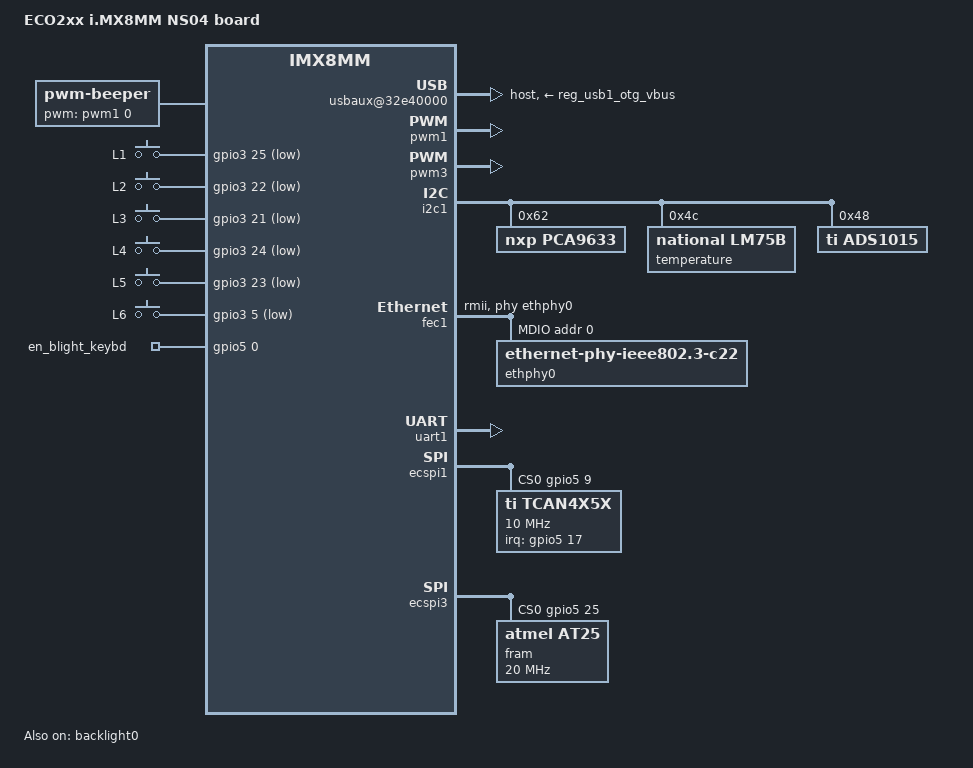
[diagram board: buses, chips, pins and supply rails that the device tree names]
/*
 * Copyright (C) 2019 Exor S.p.a
 * 
 * Written by: G. Pavoni Exor S.p.a.
 * 
 * Copyright (C) 2013 Freescale Semiconductor, Inc.
 *
 * This program is free software; you can redistribute it and/or modify
 * it under the terms of the GNU General Public License version 2 as
 * published by the Free Software Foundation.
 */
  
/dts-v1/;
  
#include "imx8mm_ns04.dtsi"
  
/ {
	model = "ECO2xx i.MX8MM NS04 board";

	aliases {
		serial0 = &uart1;
	};
	
	beeper {
		compatible = "pwm-beeper";
		pwms = <&pwm1 0 50000 0>;
	};

	working_hours {
	  compatible = "working_hours";
	  nvmem-names = "eeprom", "rtcnvram";
	  nvmem = <&seeprom0>, <&m41t83>;
	  has-blight;
	  status = "okay";
	};	
	
	gpio_buttons: gpio_buttons@0 {
		compatible = "gpio-keys";
		#address-cells = <1>;
		#size-cells = <0>;
		pinctrl-names = "default";
		pinctrl-0 = <&pinctrl_gpiobutton>;

		button@1 {
		    label = "L1";
		    linux,code = <59>; /* KEY_F1 */
		    gpios = <&gpio3 25 GPIO_ACTIVE_LOW>;
		};
		button@2 {
		    label = "L2";
		    linux,code = <60>; /* KEY_F2 */
		    gpios = <&gpio3 22 GPIO_ACTIVE_LOW>;
		};
		button@3 {
		    label = "L3";
		    linux,code = <61>; /* KEY_F3 */
		    gpios = <&gpio3 21 GPIO_ACTIVE_LOW>;
		};
		button@4 {
		    label = "L4";
		    linux,code = <62>; /* KEY_F4 */
		    gpios = <&gpio3 24 GPIO_ACTIVE_LOW>;
		};
		button@5 {
		    label = "L5";
		    linux,code = <63>; /* KEY_F5 */
		    gpios = <&gpio3 23 GPIO_ACTIVE_LOW>;
		};
		button@6 {
		    label = "L6";
		    linux,code = <64>; /* KEY_F6 */
		    gpios = <&gpio3 5 GPIO_ACTIVE_LOW>;
		};
	};
};

&aips4 {
	usbaux@32e40000 {
		compatible = "fsl,imx8mm-usb", "fsl,imx7d-usb";
		reg = <0x32e40000 0x200>;
		interrupts = <GIC_SPI 40 IRQ_TYPE_LEVEL_HIGH>;
		clocks = <&clk IMX8MM_CLK_USB1_CTRL_ROOT>;
		clock-names = "usb1_ctrl_root_clk";
		assigned-clocks = <&clk IMX8MM_CLK_USB_BUS>;
		assigned-clock-parents = <&clk IMX8MM_SYS_PLL2_500M>;
		fsl,usbphy = <&usbphynop1>;
		fsl,usbmisc = <&usbmisc1 0>;
		power-domains = <&usb_otg1_pd>;
		
		dr_mode = "host";
		vbus-supply = <&reg_usb1_otg_vbus>;
		picophy,pre-emp-curr-control = <3>;
		picophy,dc-vol-level-adjust = <7>;
		status = "okay";
	};	
};

/delete-node/&usbotg1;

&leds{
        en_blight_keybd@99 {
            label = "en_blight_keybd";
            gpios = <&gpio5 0 GPIO_ACTIVE_HIGH>;
            default-state = "on";
        };
};
        
&backlight0 {
    compatible = "pwm-backlight";
    pwms = <&pwm3 0 50000 0>;
    brightness-levels = <0 4 8 12 16 20 24 28 32 36 40 44 48 52 56 60 64 68 72 76 80 84 88 92 96 100>;
    default-brightness-level = <0>;
    enable-gpios = <&gpio5 5 0>;
    status = "okay";
};

&pwm1 {
	pinctrl-names = "default";
	pinctrl-0 = <&pinctrl_pwm1>;
	status = "okay";
};

&pwm3 {
	pinctrl-names = "default";
	pinctrl-0 = <&pinctrl_pwm3>;
	status = "okay";
};

&i2c1 {
	pca9633@62 {
		compatible = "nxp,pca9633";
		#address-cells = <1>;
		#size-cells = <0>;
		reg = <0x62>;
		
		red@0 {
			label = "red";
			reg = <0>;
			linux,default-trigger = "none";
		};
		green@1 {
			label = "green";
			reg = <1>;
			linux,default-trigger = "none";
		};
		blue@2 {
			label = "blue";
			reg = <2>;
			linux,default-trigger = "none";
		};
		unused@3 {
			label = "unused";
			reg = <3>;
			linux,default-trigger = "none";
		};
	};
	
	temperature:lm75b@4c {
		compatible = "national,lm75b";
		reg = <0x4c>;
	};
	
	ads1015@48 {
	    compatible = "ti,ads1015";
	    reg = <0x48>;
	    #address-cells = <1>;
	    #size-cells = <0>;
	    
	    channel@4 {
			reg = <4>;
			ti,gain = <2>;
			ti,datarate = <4>;
	    };    
	    channel@5 {
			reg = <5>;
			ti,gain = <2>;
			ti,datarate = <4>;
	    };    
	    channel@6 {
			reg = <6>;
			ti,gain = <2>;
			ti,datarate = <4>;
	    };    
	    channel@7 {
			reg = <7>;
			ti,gain = <2>;
			ti,datarate = <4>;
	    };    
    };	
};

&fec1 {
	pinctrl-names = "default";
	pinctrl-0 = <&pinctrl_fec1>;
	phy-mode = "rmii";
	phy-handle = <&ethphy0>;
	fsl,magic-packet;
	status = "okay";

	mdio {
		#address-cells = <1>;
		#size-cells = <0>;

		ethphy0: ethernet-phy@0 {
			compatible = "ethernet-phy-ieee802.3-c22";
			max-speed = <100>;
			reg = <0>;
		};
	};
};

&uart1 { /* Main UART */
	/delete-property/dmas;
	/delete-property/dma-names;
	pinctrl-names = "default";
	pinctrl-0 = <&pinctrl_uart1>;
	fsl,uart-has-rtscts;
	rts-gpio = <&gpio1 7 0>;
	mode-gpio = <&gpio3 2 0>;
	rxen-gpio = <&gpio5 10 0>;

	status = "okay";
};

&dsi_lvds_bridge{
		enable-gpios = <&gpio3 4 GPIO_ACTIVE_HIGH>;
};

&ecspi1 { /* TCAN4550 SPI2CAN device */
    fsl,spi-num-chipselects = <1>;
    cs-gpios = <&gpio5 9 0>;  /* CS0 */
    pinctrl-names = "default";
    pinctrl-0 = <&pinctrl_ecspi1>;
    status = "okay";
	/delete-property/dmas;
	/delete-property/dma-names;
  
    tcan4x5x: tcan4x5x@0 {
		compatible = "ti,tcan4x5x";
		reg = <0>;
		#address-cells = <1>;
		#size-cells = <1>;
		spi-max-frequency = <10000000>;
		bosch,mram-cfg = <0x0 0 0 32 0 0 1 1>;
		interrupt-parent = <&gpio5>;
		interrupts = <17 IRQ_TYPE_LEVEL_LOW>;
		tcan,ext-phy;
	};    
};

&ecspi3 {
    fsl,spi-num-chipselects = <1>;
    cs-gpios = <&gpio5 25 0>;  /* CS0 */
    pinctrl-names = "default";
    pinctrl-0 = <&pinctrl_ecspi3>;
    status = "okay";
	/delete-property/dmas;
	/delete-property/dma-names;

	fram: at25@0 {
        compatible = "atmel,at25", "st,m95256";
        reg = <0>;
        spi-max-frequency = <20000000>;
        pagesize = <64>;
        size = <65536>;
        address-width = <16>;
    };
};

&iomuxc {
	imx8mm-evk {

		pinctrl_hog: hoggrp {
			fsl,pins = <
				MX8MM_IOMUXC_NAND_CE2_B_GPIO3_IO3       0x1c4   /* eco2xx Wifi Reset */
				MX8MM_IOMUXC_NAND_CE3_B_GPIO3_IO4       0x1c4   /* eco2xx LVDS ena */	
			>;
		};

		pinctrl_pwm3: pwm3grp {
			fsl,pins = <
				MX8MM_IOMUXC_SPDIF_TX_PWM3_OUT            0x1c4
				MX8MM_IOMUXC_SPDIF_EXT_CLK_GPIO5_IO5      0x1c4
			>;
		};

		pinctrl_pwm1: pwm1grp {
			fsl,pins = <
				MX8MM_IOMUXC_I2C4_SDA_PWM1_OUT            0x1c4
			>;
		};

		pinctrl_ecspi1: ecspi1grp {
			fsl,pins = <
				MX8MM_IOMUXC_ECSPI1_SCLK_ECSPI1_SCLK    0x11
				MX8MM_IOMUXC_ECSPI1_MOSI_ECSPI1_MOSI    0x11
				MX8MM_IOMUXC_ECSPI1_MISO_ECSPI1_MISO    0x11
				MX8MM_IOMUXC_ECSPI1_SS0_GPIO5_IO9       0x11 /* cs0 */ 
				MX8MM_IOMUXC_I2C2_SDA_GPIO5_IO17        0x11 /* CAN irq */
			>;
		};
		
		pinctrl_ecspi3: ecspi3grp {
			fsl,pins = <
                MX8MM_IOMUXC_UART1_RXD_ECSPI3_SCLK      0x11
                MX8MM_IOMUXC_UART1_TXD_ECSPI3_MOSI      0x11
                MX8MM_IOMUXC_UART2_RXD_ECSPI3_MISO      0x11
                MX8MM_IOMUXC_UART2_TXD_GPIO5_IO25       0x11
			>;
		};

		pinctrl_uart1: uart1grp {
			fsl,pins = <
				MX8MM_IOMUXC_SAI2_RXFS_UART1_DCE_TX     0x140
				MX8MM_IOMUXC_SAI2_RXC_UART1_DCE_RX      0x140
				MX8MM_IOMUXC_SAI2_RXD0_UART1_DCE_RTS_B	0x140
				MX8MM_IOMUXC_SAI2_TXFS_UART1_DCE_CTS_B	0x140
				MX8MM_IOMUXC_ECSPI2_SCLK_GPIO5_IO10     0x11    /*rxen */
				MX8MM_IOMUXC_GPIO1_IO07_GPIO1_IO7       0x11    /*dxen */
				MX8MM_IOMUXC_NAND_CE1_B_GPIO3_IO2       0x11    /*mode */
			>;
		};	
		
		pinctrl_fec1: fec1grp {
			fsl,pins = <
				MX8MM_IOMUXC_ENET_MDC_ENET1_MDC		0x3
				MX8MM_IOMUXC_ENET_MDIO_ENET1_MDIO	0x3
				MX8MM_IOMUXC_ENET_TD2_ENET1_TX_CLK	0x4000001f
				MX8MM_IOMUXC_ENET_TD1_ENET1_RGMII_TD1	0x56
				MX8MM_IOMUXC_ENET_TD0_ENET1_RGMII_TD0	0x56
				MX8MM_IOMUXC_ENET_RD1_ENET1_RGMII_RD1	0x56
				MX8MM_IOMUXC_ENET_RD0_ENET1_RGMII_RD0	0x56
				MX8MM_IOMUXC_ENET_RXC_ENET1_RX_ER	0x56
				MX8MM_IOMUXC_ENET_RX_CTL_ENET1_RGMII_RX_CTL	0x56
				MX8MM_IOMUXC_ENET_TX_CTL_ENET1_RGMII_TX_CTL	0x56
			>;
		};
		
		pinctrl_gpiobutton: pinctrl_gpiobuttongrp {
			fsl,pins = <
                MX8MM_IOMUXC_SAI5_MCLK_GPIO3_IO25      0x1c4 /* Key L1 */
                MX8MM_IOMUXC_SAI5_RXD1_GPIO3_IO22      0x1c4 /* Key L2 */
                MX8MM_IOMUXC_SAI5_RXD0_GPIO3_IO21      0x1c4 /* Key L3 */
                MX8MM_IOMUXC_SAI5_RXD3_GPIO3_IO24      0x1c4 /* Key L4 */
                MX8MM_IOMUXC_SAI5_RXD2_GPIO3_IO23      0x1c4 /* Key L5 */
                MX8MM_IOMUXC_NAND_CLE_GPIO3_IO5        0x1c4 /* Key L6 */
                MX8MM_IOMUXC_SAI3_TXC_GPIO5_IO0        0x011 /* Hard_en_pwm */
			>;
		};
	};
};

